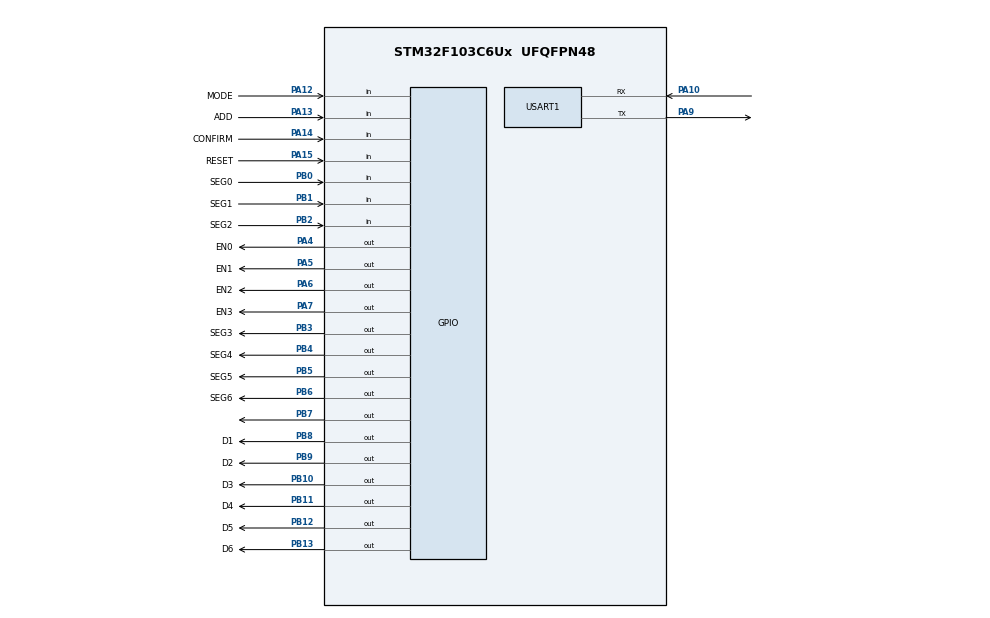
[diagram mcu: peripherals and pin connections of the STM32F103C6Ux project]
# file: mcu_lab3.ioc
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Mcu.Family=STM32F1
Mcu.Name=STM32F103C6Ux
Mcu.Package=UFQFPN48
NVIC.PriorityGroup=NVIC_PRIORITYGROUP_4
NVIC.TIM2_IRQn=true\:0\:0\:false\:false\:true\:true\:true
PA10.Mode=Asynchronous
PA10.Signal=USART1_RX
PA12.GPIO_Label=MODE
PA12.GPIO_PuPd=GPIO_PULLUP
PA12.Signal=GPIO_Input
PA13.GPIO_Label=ADD
PA13.GPIO_PuPd=GPIO_PULLUP
PA13.Signal=GPIO_Input
PA14.GPIO_Label=CONFIRM
PA14.GPIO_PuPd=GPIO_PULLUP
PA14.Signal=GPIO_Input
PA15.GPIO_Label=RESET
PA15.GPIO_PuPd=GPIO_PULLUP
PA15.Signal=GPIO_Input
PA4.GPIO_Label=EN0
PA4.Signal=GPIO_Output
PA5.GPIO_Label=EN1
PA5.Signal=GPIO_Output
PA6.GPIO_Label=EN2
PA6.Signal=GPIO_Output
PA7.GPIO_Label=EN3
PA7.Signal=GPIO_Output
PA9.Mode=Asynchronous
PA9.Signal=USART1_TX
PB0.GPIO_Label=SEG0
PB0.GPIO_PuPd=GPIO_PULLUP
PB0.Signal=GPIO_Input
PB1.GPIO_Label=SEG1
PB1.GPIO_PuPd=GPIO_PULLUP
PB1.Signal=GPIO_Input
PB10.GPIO_Label=D3
PB10.Signal=GPIO_Output
PB11.GPIO_Label=D4
PB11.Signal=GPIO_Output
PB12.GPIO_Label=D5
PB12.Signal=GPIO_Output
PB13.GPIO_Label=D6
PB13.Signal=GPIO_Output
PB2.GPIO_Label=SEG2
PB2.GPIO_PuPd=GPIO_PULLUP
PB2.Signal=GPIO_Input
PB3.GPIO_Label=SEG3
PB3.Signal=GPIO_Output
PB4.GPIO_Label=SEG4
PB4.Signal=GPIO_Output
PB5.GPIO_Label=SEG5
PB5.Signal=GPIO_Output
PB6.GPIO_Label=SEG6
PB6.Signal=GPIO_Output
PB7.Signal=GPIO_Output
PB8.GPIO_Label=D1
PB8.Signal=GPIO_Output
PB9.GPIO_Label=D2
PB9.Signal=GPIO_Output
ProjectManager.HeapSize=0x200
ProjectManager.StackSize=0x400
ProjectManager.TargetToolchain=STM32CubeIDE
RCC.APB1Freq_Value=8000000
RCC.APB2Freq_Value=8000000
TIM2.Period=9
TIM2.Prescaler=7999
USART1.VirtualMode=VM_ASYNC
VP_SYS_VS_ND.Mode=No_Debug
VP_TIM2_VS_ClockSourceINT.Mode=Internal
board=custom

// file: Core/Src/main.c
/* USER CODE BEGIN Header */
/**
  ******************************************************************************
  * @file           : main.c
  * @brief          : Main program body
  ******************************************************************************
  * @attention
  *
  * <h2><center>&copy; Copyright (c) 2022 STMicroelectronics.
  * All rights reserved.</center></h2>
  *
  * This software component is licensed by ST under BSD 3-Clause license,
  * the "License"; You may not use this file except in compliance with the
  * License. You may obtain a copy of the License at:
  *                        opensource.org/licenses/BSD-3-Clause
  *
  ******************************************************************************
  */
/* USER CODE END Header */
#include "main.h"

/* USER CODE BEGIN Includes */
#include "input_processing.h"
#include "output_display.h"
#include "led7seg.h"
#include "global.h"
#include "stdio.h"
#include "software_timer.h"
#include "traffic_light_processing.h"
#include "input_reading.h"
/* USER CODE END Includes */

TIM_HandleTypeDef htim2;

UART_HandleTypeDef huart1;

void SystemClock_Config(void);
static void MX_GPIO_Init(void);
static void MX_TIM2_Init(void);
static void MX_USART1_UART_Init(void);

int main(void)
{
  /* USER CODE BEGIN 1 */

	//uint8_t a[] = {"2\r\n"};

  /* USER CODE END 1 */

  /* MCU Configuration--------------------------------------------------------*/

  /* Reset of all peripherals, Initializes the Flash interface and the Systick. */
  HAL_Init();

  /* Configure the system clock */
  SystemClock_Config();

  /* Initialize all configured peripherals */
  MX_GPIO_Init();
  MX_TIM2_Init();
  MX_USART1_UART_Init();
  /* USER CODE BEGIN 2 */
  HAL_TIM_Base_Start_IT (&htim2) ;
  //led7SEG_init();
  GPIOA->BRR=0xFF;
  led_init();
  traffic_init();
  setTimer1(2);
  setTimer2(DURATION_1S);
  setTimer3(DURATION_1S);
  setTimer4(DURATION_1S);
  setTimer5(250);
  printf("The system is in MODE '1 - NORMAL_MODE' \r\n");
  /* USER CODE END 2 */

  /* Infinite loop */
  /* USER CODE BEGIN WHILE */
  while (1)
  {
	  traffic_light_processing();
	  fsm_for_input_processing();

//	  if (timer5_flag == 1) {
//		  displayMode();
//		  setTimer5(250);
//	  }

    /* USER CODE END WHILE */

  }
}

void SystemClock_Config(void)
{
  RCC_OscInitTypeDef RCC_OscInitStruct = {0};
  RCC_ClkInitTypeDef RCC_ClkInitStruct = {0};

  /** Initializes the RCC Oscillators according to the specified parameters
  * in the RCC_OscInitTypeDef structure.
  */
  RCC_OscInitStruct.OscillatorType = RCC_OSCILLATORTYPE_HSI;
  RCC_OscInitStruct.HSIState = RCC_HSI_ON;
  RCC_OscInitStruct.HSICalibrationValue = RCC_HSICALIBRATION_DEFAULT;
  RCC_OscInitStruct.PLL.PLLState = RCC_PLL_NONE;
  if (HAL_RCC_OscConfig(&RCC_OscInitStruct) != HAL_OK)
  {
    Error_Handler();
  }
  /** Initializes the CPU, AHB and APB buses clocks
  */
  RCC_ClkInitStruct.ClockType = RCC_CLOCKTYPE_HCLK|RCC_CLOCKTYPE_SYSCLK
                              |RCC_CLOCKTYPE_PCLK1|RCC_CLOCKTYPE_PCLK2;
  RCC_ClkInitStruct.SYSCLKSource = RCC_SYSCLKSOURCE_HSI;
  RCC_ClkInitStruct.AHBCLKDivider = RCC_SYSCLK_DIV1;
  RCC_ClkInitStruct.APB1CLKDivider = RCC_HCLK_DIV1;
  RCC_ClkInitStruct.APB2CLKDivider = RCC_HCLK_DIV1;

  if (HAL_RCC_ClockConfig(&RCC_ClkInitStruct, FLASH_LATENCY_0) != HAL_OK)
  {
    Error_Handler();
  }
}

static void MX_TIM2_Init(void)
{

  TIM_ClockConfigTypeDef sClockSourceConfig = {0};
  TIM_MasterConfigTypeDef sMasterConfig = {0};

  htim2.Instance = TIM2;
  htim2.Init.Prescaler = 7999;
  htim2.Init.CounterMode = TIM_COUNTERMODE_UP;
  htim2.Init.Period = 9;
  htim2.Init.ClockDivision = TIM_CLOCKDIVISION_DIV1;
  htim2.Init.AutoReloadPreload = TIM_AUTORELOAD_PRELOAD_DISABLE;
  if (HAL_TIM_Base_Init(&htim2) != HAL_OK)
  {
    Error_Handler();
  }
  sClockSourceConfig.ClockSource = TIM_CLOCKSOURCE_INTERNAL;
  if (HAL_TIM_ConfigClockSource(&htim2, &sClockSourceConfig) != HAL_OK)
  {
    Error_Handler();
  }
  sMasterConfig.MasterOutputTrigger = TIM_TRGO_RESET;
  sMasterConfig.MasterSlaveMode = TIM_MASTERSLAVEMODE_DISABLE;
  if (HAL_TIMEx_MasterConfigSynchronization(&htim2, &sMasterConfig) != HAL_OK)
  {
    Error_Handler();
  }

}

static void MX_USART1_UART_Init(void)
{

  huart1.Instance = USART1;
  huart1.Init.BaudRate = 115200;
  huart1.Init.WordLength = UART_WORDLENGTH_8B;
  huart1.Init.StopBits = UART_STOPBITS_1;
  huart1.Init.Parity = UART_PARITY_NONE;
  huart1.Init.Mode = UART_MODE_TX_RX;
  huart1.Init.HwFlowCtl = UART_HWCONTROL_NONE;
  huart1.Init.OverSampling = UART_OVERSAMPLING_16;
  if (HAL_UART_Init(&huart1) != HAL_OK)
  {
    Error_Handler();
  }

}

static void MX_GPIO_Init(void)
{
  GPIO_InitTypeDef GPIO_InitStruct = {0};

  /* GPIO Ports Clock Enable */
  __HAL_RCC_GPIOA_CLK_ENABLE();
  __HAL_RCC_GPIOB_CLK_ENABLE();

  /*Configure GPIO pin Output Level */
  HAL_GPIO_WritePin(GPIOA, EN0_Pin|EN1_Pin|EN2_Pin|EN3_Pin, GPIO_PIN_RESET);

  /*Configure GPIO pin Output Level */
  HAL_GPIO_WritePin(GPIOB, D3_Pin|D4_Pin|D5_Pin|D6_Pin
                          |SEG3_Pin|SEG4_Pin|SEG5_Pin|SEG6_Pin
                          |GPIO_PIN_7|D1_Pin|D2_Pin, GPIO_PIN_RESET);

  /*Configure GPIO pins : EN0_Pin EN1_Pin EN2_Pin EN3_Pin */
  GPIO_InitStruct.Pin = EN0_Pin|EN1_Pin|EN2_Pin|EN3_Pin;
  GPIO_InitStruct.Mode = GPIO_MODE_OUTPUT_PP;
  GPIO_InitStruct.Pull = GPIO_NOPULL;
  GPIO_InitStruct.Speed = GPIO_SPEED_FREQ_LOW;
  HAL_GPIO_Init(GPIOA, &GPIO_InitStruct);

  /*Configure GPIO pins : SEG0_Pin SEG1_Pin SEG2_Pin */
  GPIO_InitStruct.Pin = SEG0_Pin|SEG1_Pin|SEG2_Pin;
  GPIO_InitStruct.Mode = GPIO_MODE_INPUT;
  GPIO_InitStruct.Pull = GPIO_PULLUP;
  HAL_GPIO_Init(GPIOB, &GPIO_InitStruct);

  /*Configure GPIO pins : D3_Pin D4_Pin D5_Pin D6_Pin
                           SEG3_Pin SEG4_Pin SEG5_Pin SEG6_Pin
                           PB7 D1_Pin D2_Pin */
  GPIO_InitStruct.Pin = D3_Pin|D4_Pin|D5_Pin|D6_Pin
                          |SEG3_Pin|SEG4_Pin|SEG5_Pin|SEG6_Pin
                          |GPIO_PIN_7|D1_Pin|D2_Pin;
  GPIO_InitStruct.Mode = GPIO_MODE_OUTPUT_PP;
  GPIO_InitStruct.Pull = GPIO_NOPULL;
  GPIO_InitStruct.Speed = GPIO_SPEED_FREQ_LOW;
  HAL_GPIO_Init(GPIOB, &GPIO_InitStruct);

  /*Configure GPIO pins : MODE_Pin ADD_Pin CONFIRM_Pin RESET_Pin */
  GPIO_InitStruct.Pin = MODE_Pin|ADD_Pin|CONFIRM_Pin|RESET_Pin;
  GPIO_InitStruct.Mode = GPIO_MODE_INPUT;
  GPIO_InitStruct.Pull = GPIO_PULLUP;
  HAL_GPIO_Init(GPIOA, &GPIO_InitStruct);

}

void Error_Handler(void)
{
  __disable_irq();
  while (1)
  {
  }
}

/************************ (C) COPYRIGHT STMicroelectronics *****END OF FILE****/
